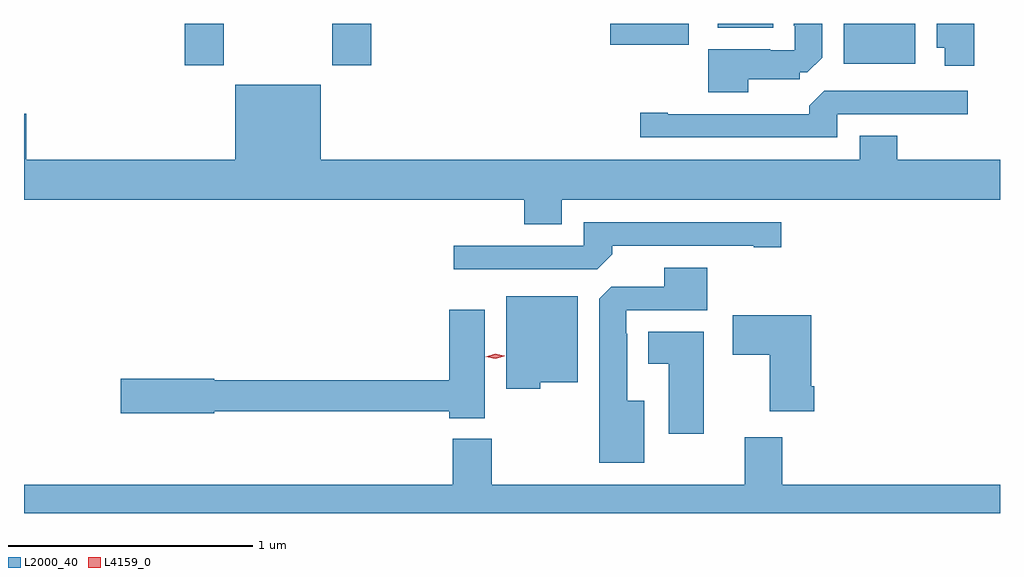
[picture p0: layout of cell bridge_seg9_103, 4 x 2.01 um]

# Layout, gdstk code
import gdstk
lib = gdstk.Library(unit=1e-6, precision=1e-09)
def R(c, l, rs):  # rectangles x0, y0, x1, y1
    for r in rs: c.add(gdstk.rectangle(r[:2], r[2:], *l))
def P(c, l, *ps):  # polygons
    for p in ps: c.add(gdstk.Polygon(p, *l))
L2000_40 = (2000, 40)
L4159_0 = (4159, 0)

bridge_seg9_103 = lib.new_cell('bridge_seg9_103')
R(bridge_seg9_103, L2000_40, [(777.209,1166.337,777.369,1166.506), (777.814,1166.337,777.974,1166.506), (779.909,1166.342,780.202,1166.506), (778.952,1166.42,779.275,1166.506), (779.393,1166.489,779.62,1166.506)])
P(bridge_seg9_103, L2000_40, [(779.518,1166.279),(779.73,1166.279),(779.73,1166.307),(779.761,1166.307),(779.821,1166.367),(779.821,1166.506),(779.705,1166.506),(779.705,1166.497),(779.709,1166.497),(779.709,1166.397),(779.609,1166.397),(779.609,1166.401),(779.354,1166.401),(779.354,1166.225),(779.518,1166.225)],
  [(780.445,1166.506),(780.29,1166.506),(780.29,1166.408),(780.323,1166.408),(780.323,1166.334),(780.445,1166.334)],
  [(778.753,1165.784),(780.55,1165.784),(780.55,1165.948),(780.128,1165.948),(780.128,1166.047),(779.975,1166.047),(779.975,1165.948),(777.766,1165.948),(777.766,1166.257),(777.416,1166.257),(777.416,1165.948),(776.56,1165.948),(776.56,1166.137),(776.55,1166.137),(776.55,1165.784),(778.601,1165.784),(778.601,1165.685),(778.753,1165.685)],
  [(779.883,1166.136),(780.418,1166.136),(780.418,1166.232),(779.829,1166.232),(779.768,1166.17),(779.768,1166.136),(779.188,1166.136),(779.188,1166.141),(779.076,1166.141),(779.076,1166.04),(779.883,1166.04)],
  [(778.961,1165.562),(778.961,1165.596),(779.54,1165.596),(779.54,1165.591),(779.653,1165.591),(779.653,1165.692),(778.845,1165.692),(778.845,1165.596),(778.311,1165.596),(778.311,1165.5),(778.899,1165.5)],
  [(779.092,1164.961),(779.023,1164.961),(779.023,1165.235),(779.019,1165.235),(779.019,1165.332),(779.35,1165.332),(779.35,1165.507),(779.174,1165.507),(779.174,1165.428),(778.956,1165.428),(778.907,1165.379),(778.907,1164.707),(779.092,1164.707)],
  [(778.665,1165.037),(778.819,1165.037),(778.819,1165.39),(778.526,1165.39),(778.526,1165.01),(778.665,1165.01)],
  [(778.438,1165.333),(778.292,1165.333),(778.292,1165.046),(777.33,1165.046),(777.33,1165.052),(776.946,1165.052),(776.946,1164.91),(777.33,1164.91),(777.33,1164.918),(778.292,1164.918),(778.292,1164.89),(778.438,1164.89)],
  [(779.789,1165.021),(779.776,1165.021),(779.776,1165.312),(779.454,1165.312),(779.454,1165.15),(779.606,1165.15),(779.606,1164.917),(779.789,1164.917)],
  [(779.335,1165.243),(779.108,1165.243),(779.108,1165.112),(779.192,1165.112),(779.192,1164.825),(779.335,1164.825)],
  [(780.55,1164.616),(779.657,1164.616),(779.657,1164.811),(779.504,1164.811),(779.504,1164.616),(778.467,1164.616),(778.467,1164.805),(778.307,1164.805),(778.307,1164.616),(776.55,1164.616),(776.55,1164.5),(780.55,1164.5)])
P(bridge_seg9_103, L4159_0, [(778.481,1165.134),(778.442,1165.142),(778.442,1165.142),(778.442,1165.142),(778.481,1165.153),(778.519,1165.145),(778.52,1165.145),(778.519,1165.144)])

lib.write_gds('bridge_seg9_103.gds')
